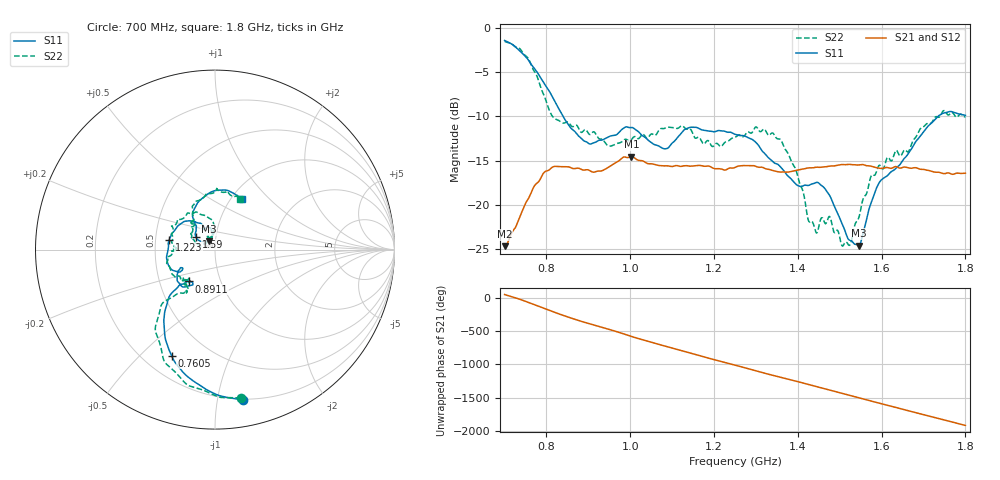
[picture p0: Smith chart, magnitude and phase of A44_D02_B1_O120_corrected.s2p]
! Created with skrf 1.9.0 (http://scikit-rf.org).
# Hz S RI R 50.0
!freq ReS11 ImS11 ReS21 ImS21 ReS12 ImS12 ReS22 ImS22
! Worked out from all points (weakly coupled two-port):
!   1601 points, 700 MHz to 1.8 GHz, reference 50 ohm
!   highest |S21| = -14.56 dB at 1.002 GHz (marker M1); lowest = -24.7 dB at 700 MHz (marker M2)
!   lowest |S11| = -24.6 dB at 1.545 GHz (marker M3), VSWR 1.13, Z = 46.3 + j4.32 ohm
!   |S11| at or under -10 dB: 839.6 MHz to 1.735 GHz (894.9 MHz wide, 69.5 % of centre)
!   |S22| runs from -24.7 to -1.5 dB; largest |S21 - S12| = 0.0034
!   S11 on the Smith chart (normalised r, x): 700 MHz: 0.20, -1.19; 760.5 MHz: 0.31, -0.62; 891.1 MHz: 0.71, -0.26; 1.223 GHz: 0.59, +0.07; 1.59 GHz: 0.80, +0.12; 1.8 GHz: 1.12, +0.71
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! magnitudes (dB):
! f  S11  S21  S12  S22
! 700 MHz  -1.4  -24.7  -24.5  -1.5
! 760.5 MHz  -3.9  -18.9  -18.8  -3.8
! 814.8 MHz  -7.9  -15.7  -15.8  -10.0
! 883.6 MHz  -12.5  -16.0  -15.9  -11.8
! 891.1 MHz  -12.8  -16.1  -16.1  -11.5
! 949.6 MHz  -12.3  -15.7  -15.7  -13.4
! 1.002 GHz  -11.2  -14.6  -14.7  -12.6
! 1.067 GHz  -13.3  -15.5  -15.5  -11.7
! 1.142 GHz  -11.2  -15.6  -15.6  -11.4
! 1.223 GHz  -11.7  -16.1  -16.1  -13.1
! 1.25 GHz  -12.0  -15.8  -15.7  -12.4
! 1.301 GHz  -13.0  -15.7  -15.6  -11.2
! 1.359 GHz  -15.7  -16.3  -16.3  -12.6
! 1.394 GHz  -17.6  -16.1  -16.1  -15.9
! 1.434 GHz  -17.6  -15.8  -15.8  -21.9
! 1.471 GHz  -18.6  -15.7  -15.7  -21.6
! 1.522 GHz  -23.9  -15.4  -15.4  -24.6
! 1.545 GHz  -24.6  -15.5  -15.5  -21.5
! 1.59 GHz  -17.8  -15.8  -15.8  -15.9
! 1.617 GHz  -16.5  -15.8  -15.8  -14.7
! 1.737 GHz  -9.9  -16.3  -16.4  -10.1
! 1.8 GHz  -9.9  -16.4  -16.4  -10.1
